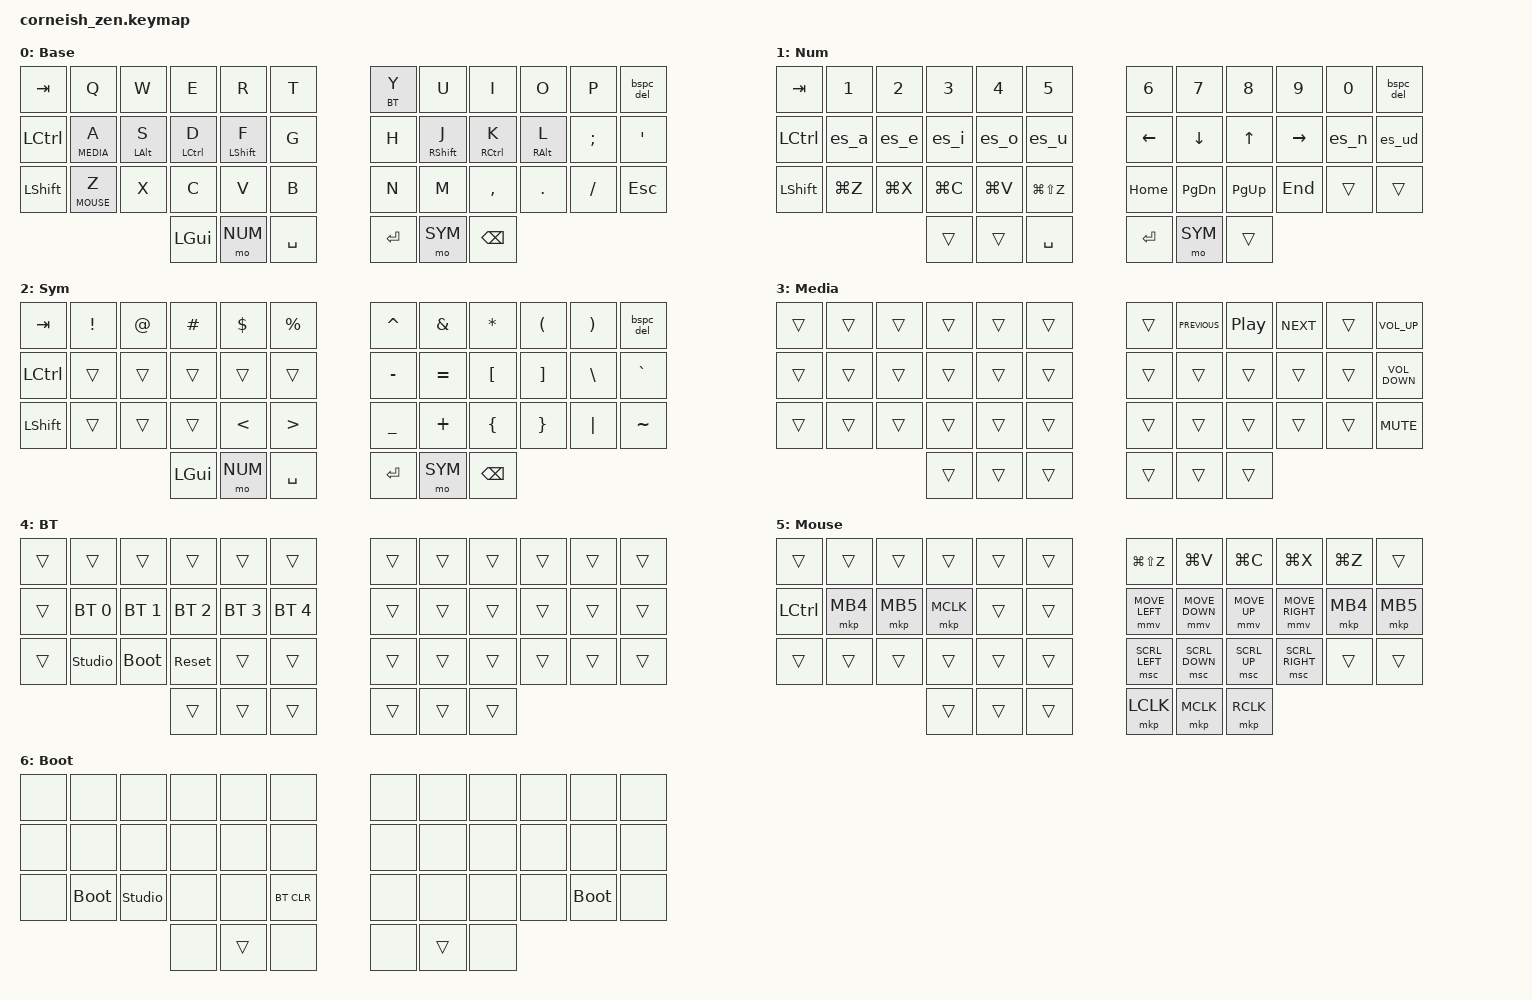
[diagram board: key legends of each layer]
// ── Mouse speed ────────────────────────────────────────────────────────────
// Must be defined BEFORE mouse.h, which uses #ifndef guards for these values.
// Both values are in "units per report"; roughly pixels/tick for move and
// lines/tick for scroll, though the exact feel depends on OS scaling.

#define ZMK_POINTING_DEFAULT_MOVE_VAL 800  // cursor max speed  (default: 600)
#define ZMK_POINTING_DEFAULT_SCRL_VAL 10   // scroll max speed  (default: 10)

#include <dt-bindings/zmk/mouse.h>
#include <behaviors.dtsi>
#include <dt-bindings/zmk/bt.h>
#include <dt-bindings/zmk/keys.h>
#include <dt-bindings/zmk/pointing.h>

// ── Layer indices ──────────────────────────────────────────────────────────

#define BASE  0
#define NUM   1
#define SYM   2
#define MEDIA 3
#define BT    4
#define MOUSE 5
#define BOOT  6

// ── Mouse acceleration and timing ──────────────────────────────────────────
// Override the built-in mmv (cursor) and msc (scroll) behavior defaults.
// All time values are in milliseconds.

&mmv {
    // How long to ramp from 0 to ZMK_POINTING_DEFAULT_MOVE_VAL.
    // Lower = snappier start; 0 = instant jump to max speed.  Default: 300

    time-to-max-speed-ms = <100>;

    // Shape of the acceleration curve during the ramp.
    //   0 = uniform speed     (cursor moves at max speed immediately, no ramp)
    //   1 = uniform accel     (speed grows linearly — default feel)
    //   2 = uniform jerk      (speed grows quadratically — very gradual start)

    acceleration-exponent = <1>;

    // How often a movement event is fired while the key is held.
    // 16 ms ≈ 60 Hz.  Raise for lower CPU load, lower for smoother motion.  Default: 16

    trigger-period-ms = <16>;

    // Extra delay (ms) before movement begins after key press.
    // Useful to avoid accidental moves when tapping through the layer key.
    // Uncomment and set if needed.  Default: 0 (no delay)
    // delay-ms = <0>;
};

&msc {
    // How long to ramp from 0 to ZMK_POINTING_DEFAULT_SCRL_VAL.
    // 0 = instant.  Default: 300

    time-to-max-speed-ms = <300>;

    // Scroll acceleration curve (same values as above).
    // 0 (uniform speed) is recommended for scroll — feels more natural.  Default: 0

    acceleration-exponent = <0>;

    // Scroll tick interval in ms while key is held.  Default: 16

    trigger-period-ms = <16>;

    // Delay before scrolling starts.  Default: 0 (no delay)
    // delay-ms = <0>;
};

/ {
    chosen {
        zmk,physical-layout = &foostan_corne_6col_layout;

        // zmk,physical-layout = &foostan_corne_5col_layout;
    };
};

/ {
    combos {
        compatible = "zmk,combos";

        // ── Existing shortcuts (unchanged) ──

        ctrl_tab {
            bindings = <&kp RC(TAB)>;
            key-positions = <13 1>;
        };

        ctrl_shift_tab {
            bindings = <&kp LS(LC(TAB))>;
            key-positions = <12 0>;
        };

        clipboard_screenshot {
            bindings = <&kp LG(LS(NUMBER_1))>;
            key-positions = <0 1 2>;
        };

        // ── Caps Word: both index home keys (F + J) ──

        caps_word {
            bindings = <&caps_word>;
            key-positions = <16 19>;
        };

        // ── Clear BT pairing: guarded. Only fires from the two OUTERMOST
        //    Bluetooth keys (BT 0 + BT 4) pressed together, and only while the
        //    BT layer is held (Y). Deliberately hard to hit by accident.

        bt_clear {
            bindings = <&bt BT_CLR>;
            key-positions = <13 17>;
            layers = <BT>;
        };

        // Bootloader is NOT a combo. &bootloader is source-local — it resets the
        // half that physically owns the binding — but ZMK hardcodes combos to
        // source = LOCAL, so a combo always resets the CENTRAL half regardless of
        // which keys it uses. So the old bootloader_right combo could never reach
        // the right half, on any layer. See the BOOT layer below.
    };

    // ── BOOT layer entry ───────────────────────────────────────────────────
    // Hold BOTH thumb layer keys (NUM + SYM) to reveal the BOOT layer.
    // Momentary: release either thumb and it's gone. Nothing to toggle, nothing
    // to get stuck in.

    conditional_layers {
        compatible = "zmk,conditional-layers";

        boot {
            if-layers = <NUM SYM>;
            then-layer = <BOOT>;
        };
    };

    behaviors {
        // Backspace, but Shift → Delete.

        bspc_del: backspace_delete {
            compatible = "zmk,behavior-mod-morph";
            #binding-cells = <0>;
            bindings = <&kp BSPC>, <&kp DEL>;

            mods = <(MOD_LSFT|MOD_RSFT)>;
        };

        // ── Home-row mods ──────────────────────────────────────────────────
        // Positional + idle-gated so they only engage with an opposite-hand
        // key, not during fast same-hand typing rolls. Command is NOT here —
        // it stays on the left thumb. Order (ring/middle/index): Option/Ctrl/Shift.
        //
        // flavor MUST stay "balanced": with "tap-preferred" only the timer can
        // decide, so hold-trigger-key-positions is never consulted and same-hand
        // rolls ("de" → Ctrl+E, "li" → Alt+I) latch the mod. With "balanced" a
        // same-hand key resolves the hold-tap to a tap on the spot.
        //
        // The long tapping term is deliberate and costs nothing: positional
        // gating resolves same-hand rolls immediately, and require-prior-idle-ms
        // resolves anything typed mid-flow, so the timer only ever runs for a
        // deliberate hold that starts after a pause.
        //   - still getting mods on same-hand rolls  → raise tapping-term-ms
        //   - getting mods on cross-hand rolls (f→j) → raise require-prior-idle-ms
        //   - mods too slow / need to hold too long  → lower tapping-term-ms

        hml: home_row_mod_left {
            compatible = "zmk,behavior-hold-tap";
            #binding-cells = <2>;
            flavor = "balanced";
            tapping-term-ms = <280>;
            quick-tap-ms = <175>;
            require-prior-idle-ms = <150>;
            hold-trigger-on-release;
            hold-trigger-key-positions = <6 7 8 9 10 11 18 19 20 21 22 23 30 31 32 33 34 35 36 37 38 39 40 41>;
            bindings = <&kp>, <&kp>;
        };

        hmr: home_row_mod_right {
            compatible = "zmk,behavior-hold-tap";
            #binding-cells = <2>;
            flavor = "balanced";
            tapping-term-ms = <280>;
            quick-tap-ms = <175>;
            require-prior-idle-ms = <150>;
            hold-trigger-on-release;
            hold-trigger-key-positions = <0 1 2 3 4 5 12 13 14 15 16 17 24 25 26 27 28 29 36 37 38 39 40 41>;
            bindings = <&kp>, <&kp>;
        };

        // ── Layer taps on letter keys ──────────────────────────────────────
        // Same story as the home-row mods: the stock &lt is hold-preferred with
        // no positional gating, so ANY next key press fires the layer. That made
        // "ai"/"au" hit media transport, "yo" swallow the y, "za" move the mouse.
        // These are gated the same way — the layer only engages when the next key
        // is on the opposite hand (which is where each layer's keys actually live).

        ltl: layer_tap_left {
            compatible = "zmk,behavior-hold-tap";
            #binding-cells = <2>;
            flavor = "balanced";
            tapping-term-ms = <200>;
            quick-tap-ms = <175>;
            require-prior-idle-ms = <150>;
            hold-trigger-on-release;
            hold-trigger-key-positions = <6 7 8 9 10 11 18 19 20 21 22 23 30 31 32 33 34 35 36 37 38 39 40 41>;
            bindings = <&mo>, <&kp>;
        };

        ltr: layer_tap_right {
            compatible = "zmk,behavior-hold-tap";
            #binding-cells = <2>;
            flavor = "balanced";
            tapping-term-ms = <200>;
            quick-tap-ms = <175>;
            require-prior-idle-ms = <150>;
            hold-trigger-on-release;
            hold-trigger-key-positions = <0 1 2 3 4 5 12 13 14 15 16 17 24 25 26 27 28 29 36 37 38 39 40 41>;
            bindings = <&mo>, <&kp>;
        };
    };

    // ── Spanish accent macros (macOS, US/ABC layout) ───────────────────────
    // Each fires the macOS Option "dead key" then the base letter, in one press:
    //   ⌥E → acute (á é í ó ú),  ⌥N → tilde (ñ),  ⌥U → diaeresis (ü).

    macros {
        es_a: es_a {
            compatible = "zmk,behavior-macro";
            #binding-cells = <0>;
            wait-ms = <20>;
            tap-ms = <20>;
            bindings = <&macro_tap>, <&kp LA(E) &kp A>;
        };

        es_e: es_e {
            compatible = "zmk,behavior-macro";
            #binding-cells = <0>;
            wait-ms = <20>;
            tap-ms = <20>;
            bindings = <&macro_tap>, <&kp LA(E) &kp E>;
        };

        es_i: es_i {
            compatible = "zmk,behavior-macro";
            #binding-cells = <0>;
            wait-ms = <20>;
            tap-ms = <20>;
            bindings = <&macro_tap>, <&kp LA(E) &kp I>;
        };

        es_o: es_o {
            compatible = "zmk,behavior-macro";
            #binding-cells = <0>;
            wait-ms = <20>;
            tap-ms = <20>;
            bindings = <&macro_tap>, <&kp LA(E) &kp O>;
        };

        es_u: es_u {
            compatible = "zmk,behavior-macro";
            #binding-cells = <0>;
            wait-ms = <20>;
            tap-ms = <20>;
            bindings = <&macro_tap>, <&kp LA(E) &kp U>;
        };

        es_n: es_n {
            compatible = "zmk,behavior-macro";
            #binding-cells = <0>;
            wait-ms = <20>;
            tap-ms = <20>;
            bindings = <&macro_tap>, <&kp LA(N) &kp N>;
        };

        es_ud: es_ud {
            compatible = "zmk,behavior-macro";
            #binding-cells = <0>;
            wait-ms = <20>;
            tap-ms = <20>;
            bindings = <&macro_tap>, <&kp LA(U) &kp U>;
        };
    };

    keymap {
        compatible = "zmk,keymap";

        base_layer {
            display-name = "Base";

            // ┌─────┬─────┬─────┬─────┬─────┬─────┐   ┌─────┬─────┬─────┬─────┬─────┬─────┐
            // │ TAB │  Q  │  W  │  E  │  R  │  T  │   │Y/BT │  U  │  I  │  O  │  P  │ ⌫/DEL│
            // ├─────┼─────┼─────┼─────┼─────┼─────┤   ├─────┼─────┼─────┼─────┼─────┼─────┤
            // │CTRL │A/MED│ S/⌥ │ D/⌃ │ F/⇧ │  G  │   │  H  │ J/⇧ │ K/⌃ │ L/⌥ │  ;  │  '  │
            // ├─────┼─────┼─────┼─────┼─────┼─────┤   ├─────┼─────┼─────┼─────┼─────┼─────┤
            // │SHIFT│Z/MOU│  X  │  C  │  V  │  B  │   │  N  │  M  │  ,  │  .  │  /  │ ESC │
            // └─────┴─────┴─────┼─────┼─────┼─────┤   ├─────┼─────┼─────┴─────┴─────┴─────┘
            //                   │ GUI │ NUM │ SPC │   │ RET │ SYM │ BSPC│
            //                   └─────┴─────┴─────┘   └─────┴─────┴─────┘
            // Home-row mods: Option/Ctrl/Shift on S D F  /  J K L (opposite = Command on thumb).

            bindings = <
&kp TAB    &kp Q         &kp W        &kp E         &kp R         &kp T        &ltr BT Y  &kp U         &kp I         &kp O        &kp P     &bspc_del
&kp LCTRL  &ltl MEDIA A  &hml LALT S  &hml LCTRL D  &hml LSHFT F  &kp G        &kp H      &hmr RSHFT J  &hmr RCTRL K  &hmr RALT L  &kp SEMI  &kp SQT
&kp LSHFT  &ltl MOUSE Z  &kp X        &kp C         &kp V         &kp B        &kp N      &kp M         &kp COMMA     &kp DOT      &kp FSLH  &kp ESC
                                      &kp LGUI      &mo NUM       &kp SPACE    &kp RET    &mo SYM       &kp BSPC
            >;
        };

        num_layer {
            display-name = "Num";

            // Numbers on the top row; arrows on the right home row (matched by the
            // mouse layer); clipboard over Z X C V B; page nav on H J K L row.
            // Left home row = Spanish accents in vowel order: á é í ó ú, with ñ / ü.

            bindings = <
&kp TAB    &kp N1     &kp N2     &kp N3     &kp N4     &kp N5           &kp N6    &kp N7     &kp N8     &kp N9     &kp N0  &bspc_del
&kp LCTRL  &es_a      &es_e      &es_i      &es_o      &es_u            &kp LEFT  &kp DOWN   &kp UP     &kp RIGHT  &es_n   &es_ud
&kp LSHFT  &kp LG(Z)  &kp LG(X)  &kp LG(C)  &kp LG(V)  &kp LG(LS(Z))    &kp HOME  &kp PG_DN  &kp PG_UP  &kp END    &trans  &trans
                                 &trans     &trans     &kp SPACE        &kp RET   &mo SYM    &trans
            >;
        };

        sym_layer {
            display-name = "Sym";

            // ┌───┬───┬───┬───┬───┬───┐   ┌───┬───┬───┬───┬───┬───┐
            // │TAB│ ! │ @ │ # │ $ │ % │   │ ^ │ & │ * │ ( │ ) │ ⌫ │
            // │CTL│   │   │   │   │   │   │ - │ = │ [ │ ] │ \ │ ` │
            // │SFT│   │   │   │ < │ > │   │ _ │ + │ { │ } │ | │ ~ │
            //             └GUI┴NUM┴SPC┘   └RET┴SYM┴BSP┘

            bindings = <
&kp TAB    &kp EXCL  &kp AT  &kp HASH  &kp DLLR       &kp PRCNT           &kp CARET  &kp AMPS   &kp ASTRK  &kp LPAR  &kp RPAR  &bspc_del
&kp LCTRL  &trans    &trans  &trans    &trans         &trans              &kp MINUS  &kp EQUAL  &kp LBKT   &kp RBKT  &kp BSLH  &kp GRAVE
&kp LSHFT  &trans    &trans  &trans    &kp LESS_THAN  &kp GREATER_THAN    &kp UNDER  &kp PLUS   &kp LBRC   &kp RBRC  &kp PIPE  &kp TILDE
                             &kp LGUI  &mo NUM        &kp SPACE           &kp RET    &mo SYM    &kp BSPC
            >;
        };

        media_layer {
            display-name = "Media";

            // Hold Z. Media on the right hand; volume rolls on the right-pinky
            // column: Vol+ (top ⌫), Vol− (home '), Mute (bottom ESC).

            bindings = <
&trans  &trans  &trans  &trans  &trans  &trans    &trans  &kp C_PREVIOUS  &kp C_PLAY_PAUSE  &kp C_NEXT  &trans  &kp C_VOLUME_UP
&trans  &trans  &trans  &trans  &trans  &trans    &trans  &trans          &trans            &trans      &trans  &kp C_VOLUME_DOWN
&trans  &trans  &trans  &trans  &trans  &trans    &trans  &trans          &trans            &trans      &trans  &kp C_MUTE
                        &trans  &trans  &trans    &trans  &trans          &trans
            >;
        };

        bt_layer {
            display-name = "BT";

            // Hold Y. BT selection on the left home row (BT 0–4). Studio / bootloader
            // / reset on the left bottom row. BT Clear is the guarded BT0+BT4 combo.

            bindings = <
&trans  &trans          &trans        &trans        &trans        &trans          &trans  &trans  &trans  &trans  &trans  &trans
&trans  &bt BT_SEL 0    &bt BT_SEL 1  &bt BT_SEL 2  &bt BT_SEL 3  &bt BT_SEL 4    &trans  &trans  &trans  &trans  &trans  &trans
&trans  &studio_unlock  &bootloader   &sys_reset    &trans        &trans          &trans  &trans  &trans  &trans  &trans  &trans
                                      &trans        &trans        &trans          &trans  &trans  &trans
            >;
        };

        mouse_layer {
            display-name = "Mouse";

            // Hold B (left index). Right hand does everything (Miryoku-style):
            //   top row  = clipboard  (Redo · Paste · Copy · Cut · Undo)
            //   home row = pointer    (← ↓ ↑ →, matching the nav arrows)
            //   bot row  = scroll     (← ↓ ↑ →)
            // Clicks on the right thumbs; back / fwd / middle-click on the left fingers.
            // Z is positionally gated, so the FIRST key after holding Z must be on
            // the right hand — hence back/fwd are duplicated on the right pinky
            // columns. The left-hand copies still work once the layer is engaged.

            bindings = <
&trans     &trans    &trans    &trans     &trans  &trans    &kp LG(LS(Z))   &kp LG(V)       &kp LG(C)     &kp LG(X)        &kp LG(Z)  &trans
&kp LCTRL  &mkp MB4  &mkp MB5  &mkp MCLK  &trans  &trans    &mmv MOVE_LEFT  &mmv MOVE_DOWN  &mmv MOVE_UP  &mmv MOVE_RIGHT  &mkp MB4   &mkp MB5
&trans     &trans    &trans    &trans     &trans  &trans    &msc SCRL_LEFT  &msc SCRL_DOWN  &msc SCRL_UP  &msc SCRL_RIGHT  &trans     &trans
                               &trans     &trans  &trans    &mkp LCLK       &mkp MCLK       &mkp RCLK
            >;
        };

        boot_layer {
            display-name = "Boot";

            // ONE RULE: hold both thumbs, press the key on the side you want to
            // flash. The key you press IS the half that reboots.
            //
            //   Z  → flash the LEFT half   (Z is a left-half key)
            //   /  → flash the RIGHT half  (/ is a right-half key)
            //
            // Everything else is &none, so while both thumbs are held nothing
            // else can fire. Release a thumb and the layer is gone.
            //
            // These are plain key bindings, so ZMK's source locality applies and
            // each resets only the half that physically owns that position. This
            // also works under the dongle build, where BOTH halves are peripheral
            // (a combo there would reset the dongle instead of either half).

            bindings = <
&none  &none        &none           &none  &none   &none         &none  &none   &none  &none  &none        &none
&none  &none        &none           &none  &none   &none         &none  &none   &none  &none  &none        &none
&none  &bootloader  &studio_unlock  &none  &none   &bt BT_CLR    &none  &none   &none  &none  &bootloader  &none
                                    &none  &trans  &none         &none  &trans  &none
            >;
        };
    };
};
